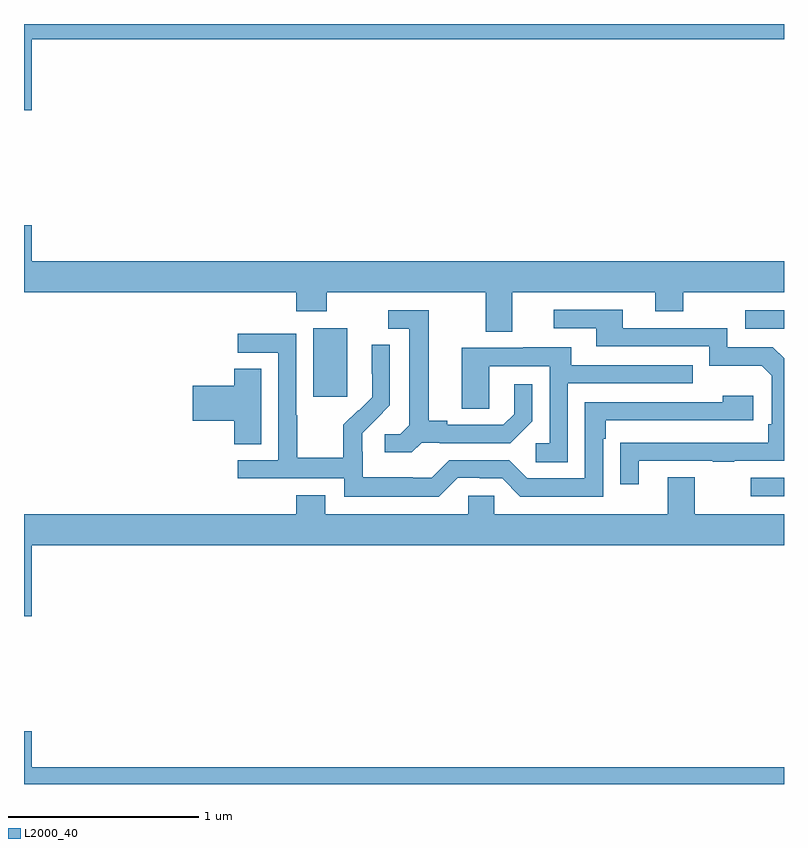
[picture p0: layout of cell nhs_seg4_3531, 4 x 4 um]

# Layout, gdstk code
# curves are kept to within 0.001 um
import gdstk
lib = gdstk.Library(unit=1e-6, precision=1e-09)
def R(c, l, rs):  # rectangles x0, y0, x1, y1
    for r in rs: c.add(gdstk.rectangle(r[:2], r[2:], *l))
def P(c, l, *ps):  # polygons
    for p in ps: c.add(gdstk.Polygon(p, *l))
L2000_40 = (2000, 40)

nhs_seg4_3531 = lib.new_cell('nhs_seg4_3531')
R(nhs_seg4_3531, L2000_40, [(300.825,794.415,301,794.511), (298.523,794.937,298.702,795.298), (300.795,795.297,301,795.393)])
P(nhs_seg4_3531, L2000_40, [(297.04,796.82),(301,796.82),(301,796.9),(297,796.9),(297,796.446),(297.04,796.446)],
  [(299.569,795.488),(300.323,795.488),(300.323,795.389),(300.471,795.389),(300.471,795.488),(301,795.488),(301,795.652),(297.04,795.652),(297.04,795.841),(297,795.841),(297,795.488),(298.433,795.488),(298.433,795.389),(298.593,795.389),(298.593,795.488),(299.429,795.488),(299.429,795.28),(299.569,795.28)],
  [(300.235,794.601),(300.625,794.601),(300.625,794.596),(300.737,794.596),(300.737,794.601),(301,794.601),(301,795.14),(300.942,795.198),(300.702,795.198),(300.702,795.3),(300.151,795.3),(300.151,795.396),(299.787,795.396),(299.787,795.3),(300.011,795.3),(300.011,795.204),(300.606,795.204),(300.606,795.101),(300.883,795.101),(300.936,795.048),(300.936,794.794),(300.916,794.794),(300.916,794.697),(300.139,794.696),(300.139,794.478),(300.235,794.478)],
  [(299.094,794.697),(299.188,794.697),(299.188,794.694),(299.56,794.694),(299.676,794.81),(299.676,795.004),(299.579,795.004),(299.579,794.847),(299.522,794.79),(299.227,794.79),(299.227,794.813),(299.131,794.813),(299.131,795.393),(298.917,795.393),(298.917,795.297),(299.027,795.297),(299.027,794.789),(298.98,794.742),(298.899,794.742),(298.899,794.645),(299.042,794.645)],
  [(299.283,794.511),(299.399,794.511),(299.399,794.508),(299.517,794.508),(299.613,794.412),(300.048,794.412),(300.048,794.717),(300.061,794.717),(300.061,794.814),(300.838,794.814),(300.838,794.944),(300.677,794.944),(300.677,794.91),(299.952,794.91),(299.952,794.508),(299.649,794.508),(299.553,794.604),(299.238,794.604),(299.145,794.511),(299.045,794.511),(299.045,794.515),(298.782,794.515),(298.782,794.649),(298.78,794.649),(298.78,794.746),(298.926,794.894),(298.926,795.212),(298.83,795.212),(298.83,795.058),(298.832,795.058),(298.832,794.936),(298.761,794.865),(298.758,794.868),(298.681,794.791),(298.681,794.617),(298.437,794.617),(298.437,794.84),(298.434,794.84),(298.434,795.27),(298.125,795.27),(298.125,795.171),(298.338,795.171),(298.338,794.604),(298.125,794.604),(298.125,794.508),(298.686,794.508),(298.686,794.411),(299.183,794.411)],
  [(299.862,795.009),(300.521,795.009),(300.521,795.105),(299.881,795.105),(299.881,795.199),(299.627,795.199),(299.627,795.195),(299.303,795.195),(299.303,794.875),(299.448,794.875),(299.448,795.099),(299.766,795.099),(299.766,794.694),(299.694,794.694),(299.694,794.593),(299.862,794.593)],
  [(298.249,795.086),(298.106,795.086),(298.106,794.996),(297.888,794.996),(297.888,794.813),(298.106,794.813),(298.106,794.689),(298.249,794.689)],
  [(297.04,794.156),(301,794.156),(301,794.32),(300.529,794.32),(300.529,794.515),(300.389,794.515),(300.389,794.32),(299.475,794.32),(299.475,794.418),(299.337,794.418),(299.337,794.32),(298.585,794.32),(298.585,794.419),(298.433,794.419),(298.433,794.32),(297,794.32),(297,793.782),(297.04,793.782)],
  [(301,792.988),(297.04,792.988),(297.04,793.177),(297,793.177),(297,792.9),(301,792.9)])

lib.write_gds('nhs_seg4_3531.gds')
